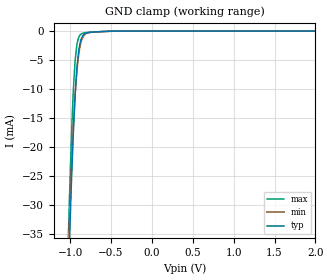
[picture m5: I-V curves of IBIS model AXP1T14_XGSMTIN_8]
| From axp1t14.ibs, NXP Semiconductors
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|   Model AXP1T14_XGSMTIN_8
[Model]   AXP1T14_XGSMTIN_8
Model_type   Input
Vinl = 0.15V
Vinh = 0.68V
C_comp   0.3063pF   0.2782pF   0.3334pF
[Model Spec]
| Note: The input and output voltage ratings may be exceeded if the input and
|   output current ratings are observed (please refer to the data sheet)
|   Subparameter   typ   min   max
| Hysteresis
Vinh+   0.640   0.600   0.680  | Overrides the
Vinh-   0.240   0.225   0.255  | thresholds
Vinl+   0.560   0.525   0.595
Vinl-   0.160   0.150   0.170
| Overshoot
S_overshoot_high   2.75   2.75   2.75
S_overshoot_low   -0.5   -0.5   -0.5
D_overshoot_high   3.3   3.3   3.3
D_overshoot_low   -0.95   -0.9   -1.0
D_overshoot_time   3n   3n   3n
|Ambient temperature:   25   85   -40
[Temperature Range]   30   90   -35
[Voltage Range]   0.8   0.75   0.85
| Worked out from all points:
|   GND clamp passes 1 mA (typ) near -0.85 V on its own axis
|Process Range   nominal   slow   fast
[GND_clamp]
|   voltage   I(typ)   I(min)   I(max)
-2.75V    -1.14A     -1.056A    -1.22A
-1.031V   -46.98mA   -42.1mA    -39.97mA
-1.008V   -36.19mA   -32.68mA   -28.49mA
-985.4mV  -26.37mA   -24.2mA    -18.44mA
-962.5mV  -17.85mA   -16.89mA   -10.45mA
-939.6mV  -11.01mA   -10.99mA   -5.054mA
-916.7mV  -6.142mA   -6.653mA   -2.184mA
-893.8mV  -3.146mA   -3.785mA   -973.2uA
-847.9mV  -817.1uA   -1.152mA   -364.2uA
-756.2mV  -211.8uA   -232.8uA   -210.2uA
-412.5mV  -4.391uA   -7.311uA   -1.99uA
5.5V      0A         0A         0A
